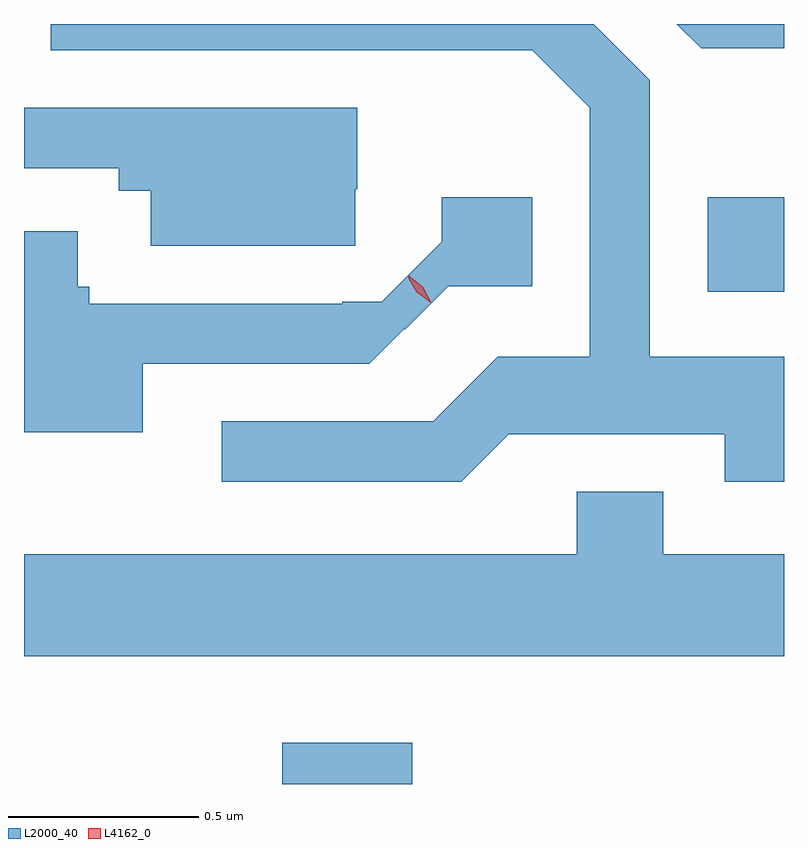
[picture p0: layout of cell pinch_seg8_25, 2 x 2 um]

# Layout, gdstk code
import gdstk
lib = gdstk.Library(unit=1e-6, precision=1e-09)
def R(c, l, rs):  # rectangles x0, y0, x1, y1
    for r in rs: c.add(gdstk.rectangle(r[:2], r[2:], *l))
def P(c, l, *ps):  # polygons
    for p in ps: c.add(gdstk.Polygon(p, *l))
L2000_40 = (2000, 40)
L4162_0 = (4162, 0)

pinch_seg8_25 = lib.new_cell('pinch_seg8_25')
R(pinch_seg8_25, L2000_40, [(1720.311,1911.56,1720.654,1911.669), (1721.431,1912.856,1721.632,1913.104)])
P(pinch_seg8_25, L2000_40, [(1720.907,1912.481),(1721.476,1912.481),(1721.476,1912.356),(1721.632,1912.356),(1721.632,1912.684),(1721.279,1912.684),(1721.279,1913.412),(1721.131,1913.56),(1719.703,1913.56),(1719.703,1913.491),(1720.969,1913.491),(1721.121,1913.339),(1721.121,1912.684),(1720.879,1912.684),(1720.709,1912.514),(1720.153,1912.514),(1720.153,1912.356),(1720.782,1912.356)],
  [(1721.632,1913.56),(1721.35,1913.56),(1721.414,1913.496),(1721.632,1913.496)],
  [(1720.504,1913.125),(1720.509,1913.125),(1720.509,1913.339),(1719.632,1913.339),(1719.632,1913.181),(1719.881,1913.181),(1719.881,1913.121),(1719.966,1913.121),(1719.966,1912.976),(1720.504,1912.976)],
  [(1719.944,1912.666),(1720.541,1912.666),(1720.632,1912.758),(1720.634,1912.756),(1720.748,1912.87),(1720.969,1912.87),(1720.969,1913.104),(1720.731,1913.104),(1720.731,1912.987),(1720.573,1912.829),(1720.47,1912.829),(1720.47,1912.824),(1719.804,1912.824),(1719.804,1912.869),(1719.774,1912.869),(1719.774,1913.014),(1719.632,1913.014),(1719.632,1912.486),(1719.944,1912.486)],
  [(1721.632,1912.164),(1721.314,1912.164),(1721.314,1912.329),(1721.086,1912.329),(1721.086,1912.164),(1719.632,1912.164),(1719.632,1911.896),(1721.632,1911.896)])
P(pinch_seg8_25, L4162_0, [(1720.703,1912.827),(1720.666,1912.855),(1720.643,1912.896),(1720.643,1912.897),(1720.644,1912.897),(1720.681,1912.868),(1720.704,1912.827),(1720.704,1912.827)],
  [(1720.699,1912.831),(1720.665,1912.854),(1720.645,1912.89),(1720.645,1912.891),(1720.646,1912.891),(1720.68,1912.868),(1720.7,1912.832),(1720.7,1912.831)])

lib.write_gds('pinch_seg8_25.gds')
